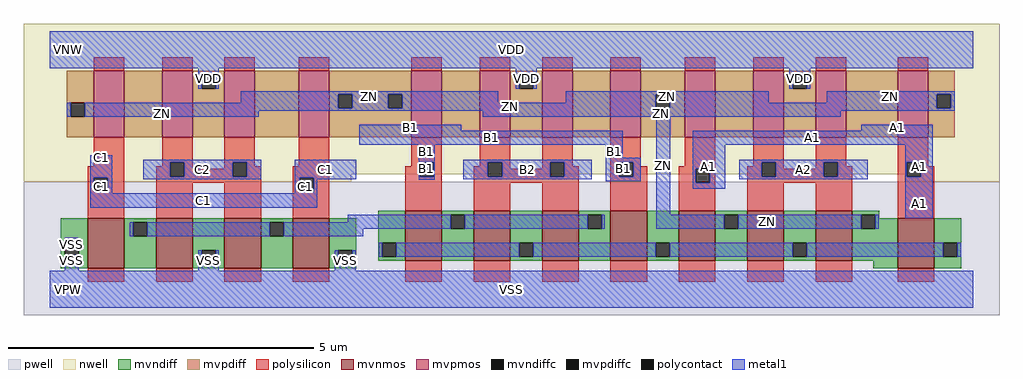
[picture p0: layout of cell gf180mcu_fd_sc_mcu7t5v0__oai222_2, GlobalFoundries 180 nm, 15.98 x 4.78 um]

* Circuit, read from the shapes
.subckt gf180mcu_fd_sc_mcu7t5v0__oai222_2 A1 A2 B1 B2 C1 C2 ZN VDD VNW VPW VSS
XM1 n1 C1 VSS VPW nfet_06v0 w=0.82u l=0.6u m=2
XM2 VSS C2 n1 VPW nfet_06v0 w=0.82u l=0.6u m=2
XM3 n1 B1 n2 VPW nfet_06v0 w=0.82u l=0.6u m=2
XM4 n2 B2 n1 VPW nfet_06v0 w=0.82u l=0.6u m=2
XM5 ZN A1 n2 VPW nfet_06v0 w=0.82u l=0.6u m=2
XM6 n2 A2 ZN VPW nfet_06v0 w=0.82u l=0.6u m=2
XM7 n3 C1 ZN VNW pfet_06v0 w=1.095u l=0.5u
XM8 VDD C2 n3 VNW pfet_06v0 w=1.095u l=0.5u
XM9 n4 C2 VDD VNW pfet_06v0 w=1.095u l=0.5u
XM10 ZN C1 n4 VNW pfet_06v0 w=1.095u l=0.5u
XM11 n5 B1 ZN VNW pfet_06v0 w=1.095u l=0.5u
XM12 VDD B2 n5 VNW pfet_06v0 w=1.095u l=0.5u
XM13 n6 B2 VDD VNW pfet_06v0 w=1.095u l=0.5u
XM14 ZN B1 n6 VNW pfet_06v0 w=1.095u l=0.5u
XM15 n7 A1 ZN VNW pfet_06v0 w=1.095u l=0.5u
XM16 VDD A2 n7 VNW pfet_06v0 w=1.095u l=0.5u
XM17 n8 A2 VDD VNW pfet_06v0 w=1.095u l=0.5u
XM18 ZN A1 n8 VNW pfet_06v0 w=1.095u l=0.5u
.ends

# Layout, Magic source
magic
tech gf180mcuD
magscale 1 10
<< nwell >>
rect -86 377 3110 870
rect -86 352 988 377
rect 2799 352 3110 377
<< pwell >>
rect -86 -86 3110 352
<< mvnmos >>
rect 124 68 244 232
rect 348 68 468 232
rect 572 68 692 232
rect 796 68 916 232
rect 1164 93 1284 257
rect 1388 93 1508 257
rect 1612 93 1732 257
rect 1836 93 1956 257
rect 2060 93 2180 257
rect 2284 93 2404 257
rect 2508 93 2628 257
rect 2776 68 2896 232
<< mvpmos >>
rect 144 497 244 716
rect 368 497 468 716
rect 572 497 672 716
rect 816 497 916 716
rect 1184 497 1284 716
rect 1408 497 1508 716
rect 1612 497 1712 716
rect 1836 497 1936 716
rect 2080 497 2180 716
rect 2304 497 2404 716
rect 2508 497 2608 716
rect 2776 497 2876 716
<< mvndiff >>
rect 36 158 124 232
rect 36 112 49 158
rect 95 112 124 158
rect 36 68 124 112
rect 244 219 348 232
rect 244 173 273 219
rect 319 173 348 219
rect 244 68 348 173
rect 468 127 572 232
rect 468 81 497 127
rect 543 81 572 127
rect 468 68 572 81
rect 692 219 796 232
rect 692 173 721 219
rect 767 173 796 219
rect 692 68 796 173
rect 916 127 1004 232
rect 916 81 945 127
rect 991 81 1004 127
rect 1076 152 1164 257
rect 1076 106 1089 152
rect 1135 106 1164 152
rect 1076 93 1164 106
rect 1284 244 1388 257
rect 1284 198 1313 244
rect 1359 198 1388 244
rect 1284 93 1388 198
rect 1508 152 1612 257
rect 1508 106 1537 152
rect 1583 106 1612 152
rect 1508 93 1612 106
rect 1732 244 1836 257
rect 1732 198 1761 244
rect 1807 198 1836 244
rect 1732 93 1836 198
rect 1956 152 2060 257
rect 1956 106 1985 152
rect 2031 106 2060 152
rect 1956 93 2060 106
rect 2180 244 2284 257
rect 2180 198 2209 244
rect 2255 198 2284 244
rect 2180 93 2284 198
rect 2404 152 2508 257
rect 2404 106 2433 152
rect 2479 106 2508 152
rect 2404 93 2508 106
rect 2628 244 2716 257
rect 2628 198 2657 244
rect 2703 232 2716 244
rect 2703 198 2776 232
rect 2628 93 2776 198
rect 916 68 1004 81
rect 2696 68 2776 93
rect 2896 152 2984 232
rect 2896 106 2925 152
rect 2971 106 2984 152
rect 2896 68 2984 106
<< mvpdiff >>
rect 56 611 144 716
rect 56 565 69 611
rect 115 565 144 611
rect 56 497 144 565
rect 244 497 368 716
rect 468 703 572 716
rect 468 657 497 703
rect 543 657 572 703
rect 468 497 572 657
rect 672 497 816 716
rect 916 639 1184 716
rect 916 593 945 639
rect 991 593 1109 639
rect 1155 593 1184 639
rect 916 497 1184 593
rect 1284 497 1408 716
rect 1508 703 1612 716
rect 1508 657 1537 703
rect 1583 657 1612 703
rect 1508 497 1612 657
rect 1712 497 1836 716
rect 1936 639 2080 716
rect 1936 593 1985 639
rect 2031 593 2080 639
rect 1936 497 2080 593
rect 2180 497 2304 716
rect 2404 703 2508 716
rect 2404 657 2433 703
rect 2479 657 2508 703
rect 2404 497 2508 657
rect 2608 497 2776 716
rect 2876 639 2964 716
rect 2876 593 2905 639
rect 2951 593 2964 639
rect 2876 497 2964 593
<< mvndiffc >>
rect 49 112 95 158
rect 273 173 319 219
rect 497 81 543 127
rect 721 173 767 219
rect 945 81 991 127
rect 1089 106 1135 152
rect 1313 198 1359 244
rect 1537 106 1583 152
rect 1761 198 1807 244
rect 1985 106 2031 152
rect 2209 198 2255 244
rect 2433 106 2479 152
rect 2657 198 2703 244
rect 2925 106 2971 152
<< mvpdiffc >>
rect 69 565 115 611
rect 497 657 543 703
rect 945 593 991 639
rect 1109 593 1155 639
rect 1537 657 1583 703
rect 1985 593 2031 639
rect 2433 657 2479 703
rect 2905 593 2951 639
<< polysilicon >>
rect 144 716 244 760
rect 368 716 468 760
rect 572 716 672 760
rect 816 716 916 760
rect 1184 716 1284 760
rect 1408 716 1508 760
rect 1612 716 1712 760
rect 1836 716 1936 760
rect 2080 716 2180 760
rect 2304 716 2404 760
rect 2508 716 2608 760
rect 2776 716 2876 760
rect 144 402 244 497
rect 368 415 468 497
rect 368 402 395 415
rect 124 365 244 402
rect 124 319 144 365
rect 190 319 244 365
rect 124 232 244 319
rect 348 369 395 402
rect 441 394 468 415
rect 572 415 672 497
rect 572 394 599 415
rect 441 369 599 394
rect 645 402 672 415
rect 816 402 916 497
rect 1184 415 1284 497
rect 1184 402 1211 415
rect 645 369 692 402
rect 348 348 692 369
rect 348 232 468 348
rect 572 232 692 348
rect 796 365 916 402
rect 796 319 819 365
rect 865 319 916 365
rect 796 232 916 319
rect 1164 369 1211 402
rect 1257 369 1284 415
rect 1408 415 1508 497
rect 1408 402 1435 415
rect 1164 257 1284 369
rect 1388 369 1435 402
rect 1481 394 1508 415
rect 1612 415 1712 497
rect 1612 394 1639 415
rect 1481 369 1639 394
rect 1685 402 1712 415
rect 1836 415 1936 497
rect 1685 369 1732 402
rect 1388 348 1732 369
rect 1388 257 1508 348
rect 1612 257 1732 348
rect 1836 369 1865 415
rect 1911 402 1936 415
rect 2080 402 2180 497
rect 2304 415 2404 497
rect 2304 402 2331 415
rect 1911 369 1956 402
rect 1836 257 1956 369
rect 2060 394 2180 402
rect 2060 348 2115 394
rect 2161 348 2180 394
rect 2060 257 2180 348
rect 2284 369 2331 402
rect 2377 394 2404 415
rect 2508 415 2608 497
rect 2508 394 2535 415
rect 2377 369 2535 394
rect 2581 402 2608 415
rect 2776 415 2876 497
rect 2581 369 2628 402
rect 2284 348 2628 369
rect 2284 257 2404 348
rect 2508 257 2628 348
rect 2776 369 2806 415
rect 2852 402 2876 415
rect 2852 369 2896 402
rect 2776 232 2896 369
rect 124 24 244 68
rect 348 24 468 68
rect 572 24 692 68
rect 796 24 916 68
rect 1164 24 1284 93
rect 1388 24 1508 93
rect 1612 24 1732 93
rect 1836 24 1956 93
rect 2060 24 2180 93
rect 2284 24 2404 93
rect 2508 24 2628 93
rect 2776 24 2896 68
<< polycontact >>
rect 144 319 190 365
rect 395 369 441 415
rect 599 369 645 415
rect 819 319 865 365
rect 1211 369 1257 415
rect 1435 369 1481 415
rect 1639 369 1685 415
rect 1865 369 1911 415
rect 2115 348 2161 394
rect 2331 369 2377 415
rect 2535 369 2581 415
rect 2806 369 2852 415
<< metal1 >>
rect 0 724 3024 844
rect 486 703 554 724
rect 486 657 497 703
rect 543 657 554 703
rect 1526 703 1594 724
rect 1526 657 1537 703
rect 1583 657 1594 703
rect 2422 703 2490 724
rect 2422 657 2433 703
rect 2479 657 2490 703
rect 625 639 1468 648
rect 625 611 945 639
rect 56 565 69 611
rect 115 593 945 611
rect 991 593 1109 639
rect 1155 611 1468 639
rect 1689 639 2355 648
rect 1689 611 1985 639
rect 1155 593 1985 611
rect 2031 611 2355 639
rect 2544 639 2964 648
rect 2544 611 2905 639
rect 2031 593 2905 611
rect 2951 593 2964 639
rect 115 584 2964 593
rect 115 565 684 584
rect 1418 565 2590 584
rect 1014 519 1348 538
rect 1014 473 1876 519
rect 132 365 204 438
rect 132 319 144 365
rect 190 319 204 365
rect 306 415 692 424
rect 306 369 395 415
rect 441 369 599 415
rect 645 369 692 415
rect 306 360 692 369
rect 802 365 1003 424
rect 132 314 204 319
rect 802 319 819 365
rect 865 360 1003 365
rect 1208 415 1260 473
rect 1820 430 1876 473
rect 1208 369 1211 415
rect 1257 369 1260 415
rect 865 319 876 360
rect 1208 358 1260 369
rect 1354 415 1774 424
rect 1354 369 1435 415
rect 1481 369 1639 415
rect 1685 369 1774 415
rect 1354 360 1774 369
rect 1820 415 1936 430
rect 1820 369 1865 415
rect 1911 369 1936 415
rect 1820 354 1936 369
rect 802 314 876 319
rect 132 267 876 314
rect 1986 244 2032 565
rect 2657 519 2892 538
rect 2105 473 2892 519
rect 2105 394 2212 473
rect 2105 348 2115 394
rect 2161 348 2212 394
rect 2258 415 2678 424
rect 2258 369 2331 415
rect 2377 369 2535 415
rect 2581 369 2678 415
rect 2258 360 2678 369
rect 2801 415 2892 473
rect 2801 369 2806 415
rect 2852 369 2892 415
rect 2105 329 2212 348
rect 976 219 1313 244
rect 262 173 273 219
rect 319 173 721 219
rect 767 198 1313 219
rect 1359 198 1761 244
rect 1807 198 1818 244
rect 1986 198 2209 244
rect 2255 198 2657 244
rect 2703 198 2714 244
rect 2801 232 2892 369
rect 767 173 1026 198
rect 49 158 95 169
rect 49 60 95 112
rect 486 81 497 127
rect 543 81 554 127
rect 486 60 554 81
rect 934 81 945 127
rect 991 81 1002 127
rect 1078 106 1089 152
rect 1135 106 1537 152
rect 1583 106 1985 152
rect 2031 106 2433 152
rect 2479 106 2925 152
rect 2971 106 2984 152
rect 934 60 1002 81
rect 0 -60 3024 60
<< labels >>
flabel metal1 s 1014 519 1348 538 0 FreeSans 400 0 0 0 B1
port 3 nsew default input
flabel metal1 s 1354 360 1774 424 0 FreeSans 400 0 0 0 B2
port 4 nsew default input
flabel metal1 s 132 424 204 438 0 FreeSans 400 0 0 0 C1
port 5 nsew default input
flabel metal1 s 306 360 692 424 0 FreeSans 400 0 0 0 C2
port 6 nsew default input
flabel metal1 s 0 724 3024 844 0 FreeSans 400 0 0 0 VDD
port 8 nsew power bidirectional abutment
flabel metal1 s 49 127 95 169 0 FreeSans 400 0 0 0 VSS
port 11 nsew ground bidirectional abutment
flabel metal1 s 2544 611 2964 648 0 FreeSans 400 0 0 0 ZN
port 7 nsew default output
flabel metal1 s 2657 519 2892 538 0 FreeSans 400 0 0 0 A1
port 1 nsew default input
flabel metal1 s 2258 360 2678 424 0 FreeSans 400 0 0 0 A2
port 2 nsew default input
flabel nwell s 10 734 110 834 0 FreeSans 400 0 0 0 VNW
port 9 nsew power bidirectional
flabel pwell s 10 -50 110 50 0 FreeSans 400 0 0 0 VPW
port 10 nsew ground bidirectional
rlabel metal1 s 2105 473 2892 519 1 A1
port 1 nsew default input
rlabel metal1 s 2801 329 2892 473 1 A1
port 1 nsew default input
rlabel metal1 s 2105 329 2212 473 1 A1
port 1 nsew default input
rlabel metal1 s 2801 232 2892 329 1 A1
port 1 nsew default input
rlabel metal1 s 1014 473 1876 519 1 B1
port 3 nsew default input
rlabel metal1 s 1820 430 1876 473 1 B1
port 3 nsew default input
rlabel metal1 s 1208 430 1260 473 1 B1
port 3 nsew default input
rlabel metal1 s 1820 358 1936 430 1 B1
port 3 nsew default input
rlabel metal1 s 1208 358 1260 430 1 B1
port 3 nsew default input
rlabel metal1 s 1820 354 1936 358 1 B1
port 3 nsew default input
rlabel metal1 s 802 360 1003 424 1 C1
port 5 nsew default input
rlabel metal1 s 132 360 204 424 1 C1
port 5 nsew default input
rlabel metal1 s 802 314 876 360 1 C1
port 5 nsew default input
rlabel metal1 s 132 314 204 360 1 C1
port 5 nsew default input
rlabel metal1 s 132 267 876 314 1 C1
port 5 nsew default input
rlabel metal1 s 1689 611 2355 648 1 ZN
port 7 nsew default output
rlabel metal1 s 625 611 1468 648 1 ZN
port 7 nsew default output
rlabel metal1 s 56 584 2964 611 1 ZN
port 7 nsew default output
rlabel metal1 s 1418 565 2590 584 1 ZN
port 7 nsew default output
rlabel metal1 s 56 565 684 584 1 ZN
port 7 nsew default output
rlabel metal1 s 1986 244 2032 565 1 ZN
port 7 nsew default output
rlabel metal1 s 1986 198 2714 244 1 ZN
port 7 nsew default output
rlabel metal1 s 2422 657 2490 724 1 VDD
port 8 nsew power bidirectional abutment
rlabel metal1 s 1526 657 1594 724 1 VDD
port 8 nsew power bidirectional abutment
rlabel metal1 s 486 657 554 724 1 VDD
port 8 nsew power bidirectional abutment
rlabel metal1 s 934 60 1002 127 1 VSS
port 11 nsew ground bidirectional abutment
rlabel metal1 s 486 60 554 127 1 VSS
port 11 nsew ground bidirectional abutment
rlabel metal1 s 49 60 95 127 1 VSS
port 11 nsew ground bidirectional abutment
rlabel metal1 s 0 -60 3024 60 1 VSS
port 11 nsew ground bidirectional abutment
<< properties >>
string FIXED_BBOX 0 0 3024 784
string GDS_END 133736
string GDS_FILE $PDKPATH/libs.ref/gf180mcu_fd_sc_mcu7t5v0/gds/gf180mcu_fd_sc_mcu7t5v0.gds
string GDS_START 127598
string LEFclass core
string LEFsite GF018hv5v_mcu_sc7
string LEFsymmetry X Y
<< end >>
